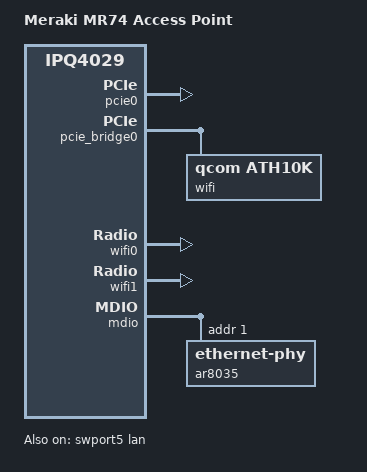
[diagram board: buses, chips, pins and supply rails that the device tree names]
// SPDX-License-Identifier: GPL-2.0-only
// Device Tree Source for Meraki MR74 (Ladybug)

#include "qcom-ipq4029-meraki-insect.dtsi"

/ {
	model = "Meraki MR74 Access Point";
	compatible = "meraki,mr74";

	soc {
		ess_tcsr@1953000 {
			qcom,ess-interface-select = <TCSR_ESS_PSGMII_RGMII5>;
		};
	};
};

&pcie0 {
	status = "okay";
};

&pcie_bridge0 {
	wifi@0,0 {
		compatible = "qcom,ath10k";
		reg = <0x00010000 0 0 0 0>;
		nvmem-cells = <&mac_address 1>, <&cal_factory_9000>;
		nvmem-cell-names = "mac-address", "calibration";
	};
};

&wifi0 {
	status = "okay";
	qcom,ath10k-calibration-variant = "Meraki-MR33";
};

&wifi1 {
	status = "okay";
	qcom,ath10k-calibration-variant = "Meraki-MR33";
};

&mdio {
	ar8035: ethernet-phy@1 {
		reg = <1>;
	};

	ethernet-phy-package@0 {
		status = "disabled";
	};
};

&switch {
	/delete-property/ psgmii-ethphy;
};

&swport5 {
	status = "okay";

	label = "lan";
	phy-handle = <&ar8035>;
	phy-mode = "rgmii-rxid";
};

&ethphy0 {
	status = "disabled";
};

&ethphy1 {
	status = "disabled";
};

&ethphy2 {
	status = "disabled";
};

&ethphy3 {
	status = "disabled";
};

&ethphy4 {
	status = "disabled";
};

&psgmiiphy {
	status = "disabled";
};

/* QSDK 10: external RGMII port, retaining its PHY and delay properties. */
#define QSDK_LAN_BMP 0x20
#define QSDK_WAN_BMP 0x0
#define QSDK_WAN_PHY 0
#define QSDK_WAN_POLL 0
#include "qcom-ipq40xx-qsdk-10.dtsi"

&switch {
	switch_mac_mode = <1>; /* PORT_WRAPPER_PSGMII_RGMII5 */
	qcom,port_phyinfo {
		port5 { port_id = <5>; phy_address = <1>; };
	};
};
